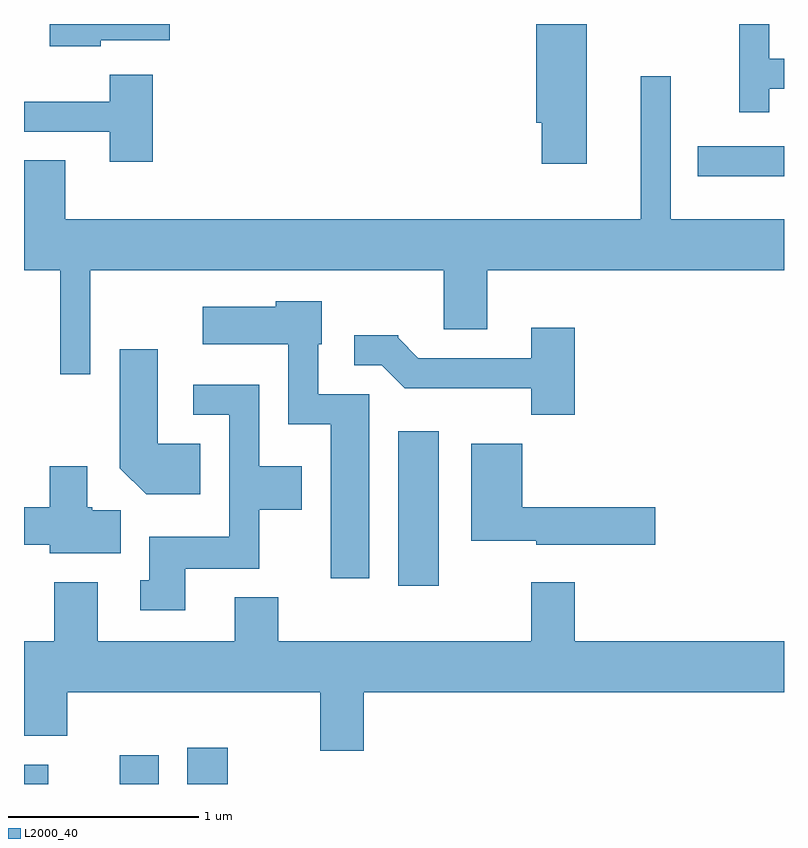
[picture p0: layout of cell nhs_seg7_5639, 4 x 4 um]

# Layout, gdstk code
import gdstk
lib = gdstk.Library(unit=1e-6, precision=1e-09)
def R(c, l, rs):  # rectangles x0, y0, x1, y1
    for r in rs: c.add(gdstk.rectangle(r[:2], r[2:], *l))
def P(c, l, *ps):  # polygons
    for p in ps: c.add(gdstk.Polygon(p, *l))
L2000_40 = (2000, 40)

nhs_seg7_5639 = lib.new_cell('nhs_seg7_5639')
R(nhs_seg7_5639, L2000_40, [(357.611,1738.252,357.739,1738.354), (358.116,1738.252,358.319,1738.404), (358.471,1738.252,358.684,1738.444), (359.581,1739.296,359.794,1740.109), (361.158,1741.451,361.611,1741.609)])
P(nhs_seg7_5639, L2000_40, [(358.014,1742.166),(358.379,1742.166),(358.379,1742.252),(357.746,1742.252),(357.746,1742.136),(358.014,1742.136)],
  [(361.534,1741.911),(361.611,1741.911),(361.611,1742.069),(361.534,1742.069),(361.534,1742.252),(361.376,1742.252),(361.376,1741.788),(361.534,1741.788)],
  [(360.574,1742.252),(360.306,1742.252),(360.306,1741.731),(360.336,1741.731),(360.336,1741.516),(360.574,1741.516)],
  [(358.289,1741.984),(358.061,1741.984),(358.061,1741.844),(357.611,1741.844),(357.611,1741.686),(358.061,1741.686),(358.061,1741.526),(358.289,1741.526)],
  [(357.959,1740.956),(359.821,1740.956),(359.821,1740.646),(360.049,1740.646),(360.049,1740.956),(361.611,1740.956),(361.611,1741.224),(361.014,1741.224),(361.014,1741.978),(360.856,1741.978),(360.856,1741.224),(357.829,1741.224),(357.829,1741.534),(357.611,1741.534),(357.611,1740.956),(357.801,1740.956),(357.801,1740.408),(357.959,1740.408)],
  [(359.429,1740.304),(359.159,1740.304),(359.159,1740.566),(359.179,1740.566),(359.179,1740.794),(358.936,1740.794),(358.936,1740.764),(358.551,1740.764),(358.551,1740.566),(359.001,1740.566),(359.001,1740.146),(359.226,1740.146),(359.226,1739.336),(359.429,1739.336)],
  [(360.509,1740.654),(360.281,1740.654),(360.281,1740.494),(359.687,1740.494),(359.58,1740.601),(359.58,1740.614),(359.348,1740.614),(359.348,1740.456),(359.494,1740.456),(359.614,1740.336),(360.281,1740.336),(360.281,1740.196),(360.509,1740.196)],
  [(358.539,1740.044),(358.314,1740.044),(358.314,1740.539),(358.116,1740.539),(358.116,1739.914),(358.254,1739.776),(358.539,1739.776)],
  [(358.459,1739.386),(358.849,1739.386),(358.849,1739.696),(359.074,1739.696),(359.074,1739.924),(358.849,1739.924),(358.849,1740.354),(358.503,1740.354),(358.503,1740.196),(358.691,1740.196),(358.691,1739.554),(358.271,1739.554),(358.271,1739.324),(358.223,1739.324),(358.223,1739.166),(358.459,1739.166)],
  [(360.934,1739.709),(360.234,1739.709),(360.234,1740.044),(359.966,1740.044),(359.966,1739.531),(360.306,1739.531),(360.306,1739.511),(360.934,1739.511)],
  [(358.119,1739.694),(357.97,1739.694),(357.97,1739.709),(357.944,1739.709),(357.944,1739.924),(357.746,1739.924),(357.746,1739.709),(357.611,1739.709),(357.611,1739.511),(357.746,1739.511),(357.746,1739.466),(358.119,1739.466)],
  [(359.399,1738.736),(361.611,1738.736),(361.611,1739.004),(360.509,1739.004),(360.509,1739.314),(360.281,1739.314),(360.281,1739.004),(358.949,1739.004),(358.949,1739.234),(358.721,1739.234),(358.721,1739.004),(357.999,1739.004),(357.999,1739.314),(357.771,1739.314),(357.771,1739.004),(357.611,1739.004),(357.611,1738.506),(357.839,1738.506),(357.839,1738.736),(359.171,1738.736),(359.171,1738.426),(359.399,1738.426)])

lib.write_gds('nhs_seg7_5639.gds')
